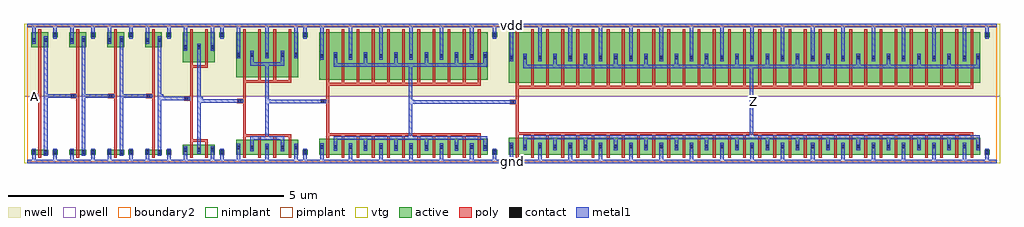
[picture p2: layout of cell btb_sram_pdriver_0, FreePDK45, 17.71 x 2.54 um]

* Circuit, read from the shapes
.subckt btb_sram_pdriver_0 A Z gnd vdd
M1 btb_sram_pinv_6_1/A A gnd gnd nfet w=0.09u l=0.05u
M2 btb_sram_pinv_6_2/A btb_sram_pinv_6_1/A gnd gnd nfet w=0.09u l=0.05u
M3 btb_sram_pinv_6_3/A btb_sram_pinv_6_2/A gnd gnd nfet w=0.09u l=0.05u
M4 btb_sram_pinv_7_4/A btb_sram_pinv_6_3/A gnd gnd nfet w=0.09u l=0.05u
M5 btb_sram_pinv_3_5/A btb_sram_pinv_7_4/A gnd gnd nfet w=0.18u l=0.05u m=2
M6 btb_sram_pinv_8_6/A btb_sram_pinv_3_5/A gnd gnd nfet w=0.27u l=0.05u m=4
M7 btb_sram_pinv_9_7/A btb_sram_pinv_8_6/A gnd gnd nfet w=0.2875u l=0.05u m=11
M8 Z btb_sram_pinv_9_7/A gnd gnd nfet w=0.305u l=0.05u m=31
M9 btb_sram_pinv_6_1/A A vdd vdd pfet w=0.27u l=0.05u
M10 btb_sram_pinv_6_2/A btb_sram_pinv_6_1/A vdd vdd pfet w=0.27u l=0.05u
M11 btb_sram_pinv_6_3/A btb_sram_pinv_6_2/A vdd vdd pfet w=0.27u l=0.05u
M12 btb_sram_pinv_7_4/A btb_sram_pinv_6_3/A vdd vdd pfet w=0.27u l=0.05u
M13 btb_sram_pinv_3_5/A btb_sram_pinv_7_4/A vdd vdd pfet w=0.54u l=0.05u m=2
M14 btb_sram_pinv_8_6/A btb_sram_pinv_3_5/A vdd vdd pfet w=0.81u l=0.05u m=4
M15 btb_sram_pinv_9_7/A btb_sram_pinv_8_6/A vdd vdd pfet w=0.86u l=0.05u m=11
M16 Z btb_sram_pinv_9_7/A vdd vdd pfet w=0.915u l=0.05u m=31
.ends

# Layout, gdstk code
import gdstk
lib = gdstk.Library(unit=1e-6, precision=5e-10)
def R(c, l, rs):  # rectangles x0, y0, x1, y1
    for r in rs: c.add(gdstk.rectangle(r[:2], r[2:], *l))
def A(c, l, x, y, w, h, nx, ny, dx, dy):  # array of equal rectangles
    R(c, l, [(x+i*dx, y+j*dy, x+i*dx+w, y+j*dy+h) for i in range(nx) for j in range(ny)])
active = (1, 0)
pwell = (2, 0)
nwell = (3, 0)
nimplant = (4, 0)
pimplant = (5, 0)
vtg = (6, 0)
poly = (9, 0)
contact = (10, 0)
metal1 = (11, 0)
boundary2 = (239, 0)

btb_sram_contact_11 = lib.new_cell('btb_sram_contact_11')
R(btb_sram_contact_11, active, [(0,0.0225,0.09,0.1125)])
R(btb_sram_contact_11, nwell, [(-0.055,-0.0325,0.145,0.1675)])
R(btb_sram_contact_11, pimplant, [(0,0.0225,0.09,0.1125)])
R(btb_sram_contact_11, contact, [(0.0125,0.035,0.0775,0.1)])
R(btb_sram_contact_11, metal1, [(0.0125,0,0.0775,0.135)])
R(btb_sram_contact_11, boundary2, [(-0.055,-0.0325,0.145,0.1675)])

btb_sram_pmos_m1_w0_270_ = lib.new_cell('btb_sram_pmos_m1_w0_270_sm1_dm1_da_p')
R(btb_sram_pmos_m1_w0_270_, active, [(0,0,0.305,0.27)])
R(btb_sram_pmos_m1_w0_270_, nwell, [(-0.08,-0.08,0.385,0.35)])
R(btb_sram_pmos_m1_w0_270_, pimplant, [(0,0,0.305,0.27)])
R(btb_sram_pmos_m1_w0_270_, vtg, [(-0.08,-0.08,0.385,0.35)])
R(btb_sram_pmos_m1_w0_270_, poly, [(0.1275,-0.055,0.1775,0.325), (0.1275,-0.055,0.1775,0.325)])
R(btb_sram_pmos_m1_w0_270_, metal1, [(0.0125,0.0675,0.0775,0.2025), (0.2275,0.0675,0.2925,0.2025)])
R(btb_sram_pmos_m1_w0_270_, boundary2, [(-0.08,-0.08,0.385,0.35)])
btb_sram_pmos_m1_w0_270_.add(gdstk.Reference(btb_sram_contact_11, (0,0.0675)))
btb_sram_pmos_m1_w0_270_.add(gdstk.Reference(btb_sram_contact_11, (0.215,0.0675)))
btb_sram_pmos_m1_w0_270_.add(gdstk.Label('G', (0.1525,0.135), layer=9, texttype=0))
btb_sram_pmos_m1_w0_270_.add(gdstk.Label('S', (0.045,0.135), layer=11, texttype=0))
btb_sram_pmos_m1_w0_270_.add(gdstk.Label('D', (0.26,0.135), layer=11, texttype=0))

btb_sram_contact_10 = lib.new_cell('btb_sram_contact_10')
R(btb_sram_contact_10, active, [(0,0.0225,0.09,0.1125)])
R(btb_sram_contact_10, pwell, [(-0.055,-0.0325,0.145,0.1675)])
R(btb_sram_contact_10, nimplant, [(0,0.0225,0.09,0.1125)])
R(btb_sram_contact_10, contact, [(0.0125,0.035,0.0775,0.1)])
R(btb_sram_contact_10, metal1, [(0.0125,0,0.0775,0.135)])
R(btb_sram_contact_10, boundary2, [(-0.055,-0.0325,0.145,0.1675)])

btb_sram_nmos_m1_w0_090_ = lib.new_cell('btb_sram_nmos_m1_w0_090_sm1_dm1_da_p')
R(btb_sram_nmos_m1_w0_090_, active, [(0,0,0.305,0.09)])
R(btb_sram_nmos_m1_w0_090_, pwell, [(-0.08,-0.08,0.385,0.17)])
R(btb_sram_nmos_m1_w0_090_, nimplant, [(0,0,0.305,0.09)])
R(btb_sram_nmos_m1_w0_090_, vtg, [(-0.08,-0.08,0.385,0.17)])
R(btb_sram_nmos_m1_w0_090_, poly, [(0.1275,-0.055,0.1775,0.145), (0.1275,-0.055,0.1775,0.145)])
R(btb_sram_nmos_m1_w0_090_, metal1, [(0.0125,-0.0225,0.0775,0.1125), (0.2275,-0.0225,0.2925,0.1125)])
R(btb_sram_nmos_m1_w0_090_, boundary2, [(-0.08,-0.08,0.385,0.17)])
btb_sram_nmos_m1_w0_090_.add(gdstk.Reference(btb_sram_contact_10, (0,-0.0225)))
btb_sram_nmos_m1_w0_090_.add(gdstk.Reference(btb_sram_contact_10, (0.215,-0.0225)))
btb_sram_nmos_m1_w0_090_.add(gdstk.Label('G', (0.1525,0.045), layer=9, texttype=0))
btb_sram_nmos_m1_w0_090_.add(gdstk.Label('S', (0.045,0.045), layer=11, texttype=0))
btb_sram_nmos_m1_w0_090_.add(gdstk.Label('D', (0.26,0.045), layer=11, texttype=0))

btb_sram_contact_12 = lib.new_cell('btb_sram_contact_12')
R(btb_sram_contact_12, active, [(0,0.0225,0.09,0.1125)])
R(btb_sram_contact_12, nwell, [(-0.055,-0.0325,0.145,0.1675)])
R(btb_sram_contact_12, nimplant, [(0,0.0225,0.09,0.1125)])
R(btb_sram_contact_12, contact, [(0.0125,0.035,0.0775,0.1)])
R(btb_sram_contact_12, metal1, [(0.0125,0,0.0775,0.135)])
R(btb_sram_contact_12, boundary2, [(-0.055,-0.0325,0.145,0.1675)])

btb_sram_contact_13 = lib.new_cell('btb_sram_contact_13')
R(btb_sram_contact_13, active, [(0,0.0225,0.09,0.1125)])
R(btb_sram_contact_13, pwell, [(-0.055,-0.0325,0.145,0.1675)])
R(btb_sram_contact_13, pimplant, [(0,0.0225,0.09,0.1125)])
R(btb_sram_contact_13, contact, [(0.0125,0.035,0.0775,0.1)])
R(btb_sram_contact_13, metal1, [(0.0125,0,0.0775,0.135)])
R(btb_sram_contact_13, boundary2, [(-0.055,-0.0325,0.145,0.1675)])

btb_sram_contact_14 = lib.new_cell('btb_sram_contact_14')
R(btb_sram_contact_14, poly, [(0.03,0,0.105,0.075)])
R(btb_sram_contact_14, contact, [(0.035,0.005,0.1,0.07)])
R(btb_sram_contact_14, metal1, [(0,0.005,0.135,0.07)])
R(btb_sram_contact_14, boundary2, [(0,0,0.135,0.075)])

btb_sram_pinv_6 = lib.new_cell('btb_sram_pinv_6')
R(btb_sram_pinv_6, pwell, [(-0.055,-0.0325,0.7425,1.185)])
R(btb_sram_pinv_6, nwell, [(-0.055,1.185,0.7425,2.505)])
R(btb_sram_pinv_6, vtg, [(-0.055,-0.0325,0.7425,1.185), (-0.055,1.185,0.7425,2.505)])
R(btb_sram_pinv_6, poly, [(0.2075,0.27,0.2575,2.02), (0.14,1.1525,0.2075,1.2275)])
R(btb_sram_pinv_6, metal1, [(0,-0.0325,0.6875,0.0325), (0.0925,-0.0325,0.1575,0.1025), (0.4775,0,0.5425,0.17), (0.3075,0.1025,0.3725,2.2775), (0.0725,1.1575,0.2075,1.2225), (0.34,1.1575,0.405,1.2225), (0.0925,2.1425,0.1575,2.5025), (0.4775,2.3,0.5425,2.47), (0,2.4375,0.6875,2.5025)])
R(btb_sram_pinv_6, boundary2, [(0,0,0.6875,2.47), (0,0,0.6875,2.47)])
btb_sram_pinv_6.add(gdstk.Reference(btb_sram_pmos_m1_w0_270_, (0.08,2.075)))
btb_sram_pinv_6.add(gdstk.Reference(btb_sram_nmos_m1_w0_090_, (0.08,0.125)))
btb_sram_pinv_6.add(gdstk.Reference(btb_sram_contact_12, (0.465,2.2325)))
btb_sram_pinv_6.add(gdstk.Reference(btb_sram_contact_13, (0.465,0.1025)))
btb_sram_pinv_6.add(gdstk.Reference(btb_sram_contact_14, (0.0725,1.1525)))
btb_sram_pinv_6.add(gdstk.Label('A', (0.14,1.19), layer=11, texttype=0))
btb_sram_pinv_6.add(gdstk.Label('Z', (0.3725,1.19), layer=11, texttype=0))
btb_sram_pinv_6.add(gdstk.Label('gnd', (0.344,0), layer=11, texttype=0))
btb_sram_pinv_6.add(gdstk.Label('vdd', (0.344,2.47), layer=11, texttype=0))

btb_sram_pmos_m2_w0_540_ = lib.new_cell('btb_sram_pmos_m2_w0_540_sm1_dm1_da_p')
R(btb_sram_pmos_m2_w0_540_, active, [(0,0,0.58,0.54)])
R(btb_sram_pmos_m2_w0_540_, nwell, [(-0.08,-0.08,0.66,0.62)])
R(btb_sram_pmos_m2_w0_540_, pimplant, [(0,0,0.58,0.54)])
R(btb_sram_pmos_m2_w0_540_, vtg, [(-0.08,-0.08,0.66,0.62)])
R(btb_sram_pmos_m2_w0_540_, poly, [(0.1275,-0.105,0.4525,-0.055), (0.1275,-0.055,0.1775,0.595), (0.4025,-0.055,0.4525,0.595)])
A(btb_sram_pmos_m2_w0_540_, metal1, 0.0125, 0.2025, 0.065, 0.135, 3, 1, 0.245, 0)
R(btb_sram_pmos_m2_w0_540_, boundary2, [(-0.08,-0.105,0.66,0.62)])
btb_sram_pmos_m2_w0_540_.add(gdstk.Reference(btb_sram_contact_11, (0,0.2025)))
btb_sram_pmos_m2_w0_540_.add(gdstk.Reference(btb_sram_contact_11, (0.245,0.2025)))
btb_sram_pmos_m2_w0_540_.add(gdstk.Reference(btb_sram_contact_11, (0.49,0.2025)))
btb_sram_pmos_m2_w0_540_.add(gdstk.Label('G', (0.29,-0.08), layer=9, texttype=0))
btb_sram_pmos_m2_w0_540_.add(gdstk.Label('S', (0.045,0.27), layer=11, texttype=0))
btb_sram_pmos_m2_w0_540_.add(gdstk.Label('S', (0.535,0.27), layer=11, texttype=0))
btb_sram_pmos_m2_w0_540_.add(gdstk.Label('D', (0.29,0.27), layer=11, texttype=0))

btb_sram_nmos_m2_w0_180_ = lib.new_cell('btb_sram_nmos_m2_w0_180_sm1_dm1_da_p')
R(btb_sram_nmos_m2_w0_180_, active, [(0,0,0.58,0.18)])
R(btb_sram_nmos_m2_w0_180_, pwell, [(-0.08,-0.08,0.66,0.26)])
R(btb_sram_nmos_m2_w0_180_, nimplant, [(0,0,0.58,0.18)])
R(btb_sram_nmos_m2_w0_180_, vtg, [(-0.08,-0.08,0.66,0.26)])
R(btb_sram_nmos_m2_w0_180_, poly, [(0.1275,-0.055,0.1775,0.235), (0.4025,-0.055,0.4525,0.235), (0.1275,0.235,0.4525,0.285)])
A(btb_sram_nmos_m2_w0_180_, metal1, 0.0125, 0.0225, 0.065, 0.135, 3, 1, 0.245, 0)
R(btb_sram_nmos_m2_w0_180_, boundary2, [(-0.08,-0.08,0.66,0.285)])
btb_sram_nmos_m2_w0_180_.add(gdstk.Reference(btb_sram_contact_10, (0,0.0225)))
btb_sram_nmos_m2_w0_180_.add(gdstk.Reference(btb_sram_contact_10, (0.245,0.0225)))
btb_sram_nmos_m2_w0_180_.add(gdstk.Reference(btb_sram_contact_10, (0.49,0.0225)))
btb_sram_nmos_m2_w0_180_.add(gdstk.Label('G', (0.29,0.26), layer=9, texttype=0))
btb_sram_nmos_m2_w0_180_.add(gdstk.Label('S', (0.535,0.09), layer=11, texttype=0))
btb_sram_nmos_m2_w0_180_.add(gdstk.Label('S', (0.045,0.09), layer=11, texttype=0))
btb_sram_nmos_m2_w0_180_.add(gdstk.Label('D', (0.29,0.09), layer=11, texttype=0))

btb_sram_pinv_7 = lib.new_cell('btb_sram_pinv_7')
R(btb_sram_pinv_7, pwell, [(-0.055,-0.0325,1.0175,1.185)])
R(btb_sram_pinv_7, nwell, [(-0.055,1.185,1.0175,2.505)])
R(btb_sram_pinv_7, vtg, [(-0.055,-0.0325,1.0175,1.185), (-0.055,1.185,1.0175,2.505)])
R(btb_sram_pinv_7, poly, [(0.2075,0.41,0.2575,1.7), (0.14,1.1075,0.2075,1.1825)])
R(btb_sram_pinv_7, metal1, [(0,-0.0325,0.9625,0.0325), (0.0925,-0.0325,0.1575,0.1475), (0.5825,-0.0325,0.6475,0.1475), (0.7525,0,0.8175,0.17), (0.3375,0.1475,0.4025,2.1425), (0.0725,1.1125,0.2075,1.1775), (0.37,1.1125,0.435,1.1775), (0.0925,2.0075,0.1575,2.5025), (0.5825,2.0075,0.6475,2.5025), (0.7525,2.3,0.8175,2.47), (0,2.4375,0.9625,2.5025)])
R(btb_sram_pinv_7, boundary2, [(0,0,0.9625,2.47), (0,0,0.9625,2.47)])
btb_sram_pinv_7.add(gdstk.Reference(btb_sram_pmos_m2_w0_540_, (0.08,1.805)))
btb_sram_pinv_7.add(gdstk.Reference(btb_sram_nmos_m2_w0_180_, (0.08,0.125)))
btb_sram_pinv_7.add(gdstk.Reference(btb_sram_contact_12, (0.74,2.2325)))
btb_sram_pinv_7.add(gdstk.Reference(btb_sram_contact_13, (0.74,0.1025)))
btb_sram_pinv_7.add(gdstk.Reference(btb_sram_contact_14, (0.0725,1.1075)))
btb_sram_pinv_7.add(gdstk.Label('A', (0.14,1.145), layer=11, texttype=0))
btb_sram_pinv_7.add(gdstk.Label('Z', (0.4025,1.145), layer=11, texttype=0))
btb_sram_pinv_7.add(gdstk.Label('gnd', (0.481,0), layer=11, texttype=0))
btb_sram_pinv_7.add(gdstk.Label('vdd', (0.481,2.47), layer=11, texttype=0))

btb_sram_pmos_m4_w0_810_ = lib.new_cell('btb_sram_pmos_m4_w0_810_sm1_dm1_da_p')
R(btb_sram_pmos_m4_w0_810_, active, [(0,0,1.13,0.81)])
R(btb_sram_pmos_m4_w0_810_, nwell, [(-0.08,-0.08,1.21,0.89)])
R(btb_sram_pmos_m4_w0_810_, pimplant, [(0,0,1.13,0.81)])
R(btb_sram_pmos_m4_w0_810_, vtg, [(-0.08,-0.08,1.21,0.89)])
A(btb_sram_pmos_m4_w0_810_, poly, 0.1275, -0.055, 0.05, 0.92, 4, 1, 0.275, 0)
R(btb_sram_pmos_m4_w0_810_, poly, [(0.1275,-0.105,1.0025,-0.055)])
A(btb_sram_pmos_m4_w0_810_, metal1, 0.0125, 0.3375, 0.065, 0.135, 3, 1, 0.52, 0)
R(btb_sram_pmos_m4_w0_810_, metal1, [(0.2575,0.2075,0.8725,0.2725), (0.2575,0.24,0.3225,0.405), (0.8075,0.24,0.8725,0.405)])
R(btb_sram_pmos_m4_w0_810_, boundary2, [(-0.08,-0.105,1.21,0.89)])
btb_sram_pmos_m4_w0_810_.add(gdstk.Reference(btb_sram_contact_11, (0,0.3375)))
btb_sram_pmos_m4_w0_810_.add(gdstk.Reference(btb_sram_contact_11, (0.245,0.3375)))
btb_sram_pmos_m4_w0_810_.add(gdstk.Reference(btb_sram_contact_11, (0.52,0.3375)))
btb_sram_pmos_m4_w0_810_.add(gdstk.Reference(btb_sram_contact_11, (0.795,0.3375)))
btb_sram_pmos_m4_w0_810_.add(gdstk.Reference(btb_sram_contact_11, (1.04,0.3375)))
btb_sram_pmos_m4_w0_810_.add(gdstk.Label('G', (0.565,-0.08), layer=9, texttype=0))
btb_sram_pmos_m4_w0_810_.add(gdstk.Label('S', (0.045,0.405), layer=11, texttype=0))
btb_sram_pmos_m4_w0_810_.add(gdstk.Label('S', (0.565,0.405), layer=11, texttype=0))
btb_sram_pmos_m4_w0_810_.add(gdstk.Label('S', (1.085,0.405), layer=11, texttype=0))
btb_sram_pmos_m4_w0_810_.add(gdstk.Label('D', (0.565,0.24), layer=11, texttype=0))

btb_sram_nmos_m4_w0_270_ = lib.new_cell('btb_sram_nmos_m4_w0_270_sm1_dm1_da_p')
R(btb_sram_nmos_m4_w0_270_, active, [(0,0,1.13,0.27)])
R(btb_sram_nmos_m4_w0_270_, pwell, [(-0.08,-0.08,1.21,0.35)])
R(btb_sram_nmos_m4_w0_270_, nimplant, [(0,0,1.13,0.27)])
R(btb_sram_nmos_m4_w0_270_, vtg, [(-0.08,-0.08,1.21,0.35)])
A(btb_sram_nmos_m4_w0_270_, poly, 0.1275, -0.055, 0.05, 0.38, 4, 1, 0.275, 0)
R(btb_sram_nmos_m4_w0_270_, poly, [(0.1275,0.325,1.0025,0.375)])
A(btb_sram_nmos_m4_w0_270_, metal1, 0.0125, 0.0675, 0.065, 0.135, 3, 1, 0.52, 0)
R(btb_sram_nmos_m4_w0_270_, metal1, [(0.2575,0.135,0.3225,0.3), (0.8075,0.135,0.8725,0.3), (0.2575,0.2675,0.8725,0.3325)])
R(btb_sram_nmos_m4_w0_270_, boundary2, [(-0.08,-0.08,1.21,0.375)])
btb_sram_nmos_m4_w0_270_.add(gdstk.Reference(btb_sram_contact_10, (0,0.0675)))
btb_sram_nmos_m4_w0_270_.add(gdstk.Reference(btb_sram_contact_10, (0.245,0.0675)))
btb_sram_nmos_m4_w0_270_.add(gdstk.Reference(btb_sram_contact_10, (0.52,0.0675)))
btb_sram_nmos_m4_w0_270_.add(gdstk.Reference(btb_sram_contact_10, (0.795,0.0675)))
btb_sram_nmos_m4_w0_270_.add(gdstk.Reference(btb_sram_contact_10, (1.04,0.0675)))
btb_sram_nmos_m4_w0_270_.add(gdstk.Label('G', (0.565,0.35), layer=9, texttype=0))
btb_sram_nmos_m4_w0_270_.add(gdstk.Label('S', (0.565,0.135), layer=11, texttype=0))
btb_sram_nmos_m4_w0_270_.add(gdstk.Label('S', (0.045,0.135), layer=11, texttype=0))
btb_sram_nmos_m4_w0_270_.add(gdstk.Label('S', (1.085,0.135), layer=11, texttype=0))
btb_sram_nmos_m4_w0_270_.add(gdstk.Label('D', (0.565,0.3), layer=11, texttype=0))

btb_sram_pinv_3 = lib.new_cell('btb_sram_pinv_3')
R(btb_sram_pinv_3, pwell, [(-0.055,-0.0325,1.5675,1.185)])
R(btb_sram_pinv_3, nwell, [(-0.055,1.185,1.5675,2.505)])
R(btb_sram_pinv_3, vtg, [(-0.055,-0.0325,1.5675,1.185), (-0.055,1.185,1.5675,2.505)])
R(btb_sram_pinv_3, poly, [(0.2075,0.5,0.2575,1.43), (0.14,1.0625,0.2075,1.1375)])
A(btb_sram_pinv_3, metal1, 0.0925, -0.0325, 0.065, 0.225, 3, 1, 0.52, 0)
A(btb_sram_pinv_3, metal1, 0.0925, 1.8725, 0.065, 0.63, 3, 1, 0.52, 0)
R(btb_sram_pinv_3, metal1, [(0,-0.0325,1.5125,0.0325), (1.3025,0,1.3675,0.17), (0.6125,0.3925,0.6775,1.8075), (0.0725,1.0675,0.2075,1.1325), (0.645,1.0675,0.71,1.1325), (1.3025,2.3,1.3675,2.47), (0,2.4375,1.5125,2.5025)])
R(btb_sram_pinv_3, boundary2, [(0,0,1.5125,2.47), (0,0,1.5125,2.47)])
btb_sram_pinv_3.add(gdstk.Reference(btb_sram_pmos_m4_w0_810_, (0.08,1.535)))
btb_sram_pinv_3.add(gdstk.Reference(btb_sram_nmos_m4_w0_270_, (0.08,0.125)))
btb_sram_pinv_3.add(gdstk.Reference(btb_sram_contact_12, (1.29,2.2325)))
btb_sram_pinv_3.add(gdstk.Reference(btb_sram_contact_13, (1.29,0.1025)))
btb_sram_pinv_3.add(gdstk.Reference(btb_sram_contact_14, (0.0725,1.0625)))
btb_sram_pinv_3.add(gdstk.Label('A', (0.14,1.1), layer=11, texttype=0))
btb_sram_pinv_3.add(gdstk.Label('Z', (0.6775,1.1), layer=11, texttype=0))
btb_sram_pinv_3.add(gdstk.Label('gnd', (0.756,0), layer=11, texttype=0))
btb_sram_pinv_3.add(gdstk.Label('vdd', (0.756,2.47), layer=11, texttype=0))

btb_sram_pmos_m11_w0_860 = lib.new_cell('btb_sram_pmos_m11_w0_860_sm1_dm1_da_p')
R(btb_sram_pmos_m11_w0_860, active, [(0,0,3.055,0.86)])
R(btb_sram_pmos_m11_w0_860, nwell, [(-0.08,-0.08,3.135,0.94)])
R(btb_sram_pmos_m11_w0_860, pimplant, [(0,0,3.055,0.86)])
R(btb_sram_pmos_m11_w0_860, vtg, [(-0.08,-0.08,3.135,0.94)])
A(btb_sram_pmos_m11_w0_860, poly, 0.1275, -0.055, 0.05, 0.97, 11, 1, 0.275, 0)
R(btb_sram_pmos_m11_w0_860, poly, [(0.1275,-0.105,2.9275,-0.055)])
A(btb_sram_pmos_m11_w0_860, metal1, 0.2575, 0.265, 0.065, 0.165, 5, 1, 0.55, 0)
A(btb_sram_pmos_m11_w0_860, metal1, 0.5325, 0.3625, 0.065, 0.135, 5, 1, 0.55, 0)
R(btb_sram_pmos_m11_w0_860, metal1, [(0.2575,0.2325,3.0425,0.2975), (2.9775,0.265,3.0425,0.43), (0.0125,0.3625,0.0775,0.4975)])
R(btb_sram_pmos_m11_w0_860, boundary2, [(-0.08,-0.105,3.135,0.94)])
btb_sram_pmos_m11_w0_860.add(gdstk.Reference(btb_sram_contact_11, (0,0.3625)))
btb_sram_pmos_m11_w0_860.add(gdstk.Reference(btb_sram_contact_11, (0.245,0.3625)))
btb_sram_pmos_m11_w0_860.add(gdstk.Reference(btb_sram_contact_11, (0.52,0.3625)))
btb_sram_pmos_m11_w0_860.add(gdstk.Reference(btb_sram_contact_11, (0.795,0.3625)))
btb_sram_pmos_m11_w0_860.add(gdstk.Reference(btb_sram_contact_11, (1.07,0.3625)))
btb_sram_pmos_m11_w0_860.add(gdstk.Reference(btb_sram_contact_11, (1.345,0.3625)))
btb_sram_pmos_m11_w0_860.add(gdstk.Reference(btb_sram_contact_11, (1.62,0.3625)))
btb_sram_pmos_m11_w0_860.add(gdstk.Reference(btb_sram_contact_11, (1.895,0.3625)))
btb_sram_pmos_m11_w0_860.add(gdstk.Reference(btb_sram_contact_11, (2.17,0.3625)))
btb_sram_pmos_m11_w0_860.add(gdstk.Reference(btb_sram_contact_11, (2.445,0.3625)))
btb_sram_pmos_m11_w0_860.add(gdstk.Reference(btb_sram_contact_11, (2.72,0.3625)))
btb_sram_pmos_m11_w0_860.add(gdstk.Reference(btb_sram_contact_11, (2.965,0.3625)))
btb_sram_pmos_m11_w0_860.add(gdstk.Label('G', (1.5275,-0.08), layer=9, texttype=0))
btb_sram_pmos_m11_w0_860.add(gdstk.Label('S', (2.765,0.43), layer=11, texttype=0))
btb_sram_pmos_m11_w0_860.add(gdstk.Label('S', (1.665,0.43), layer=11, texttype=0))
btb_sram_pmos_m11_w0_860.add(gdstk.Label('S', (2.215,0.43), layer=11, texttype=0))
btb_sram_pmos_m11_w0_860.add(gdstk.Label('S', (0.565,0.43), layer=11, texttype=0))
btb_sram_pmos_m11_w0_860.add(gdstk.Label('S', (0.045,0.43), layer=11, texttype=0))
btb_sram_pmos_m11_w0_860.add(gdstk.Label('S', (1.115,0.43), layer=11, texttype=0))
btb_sram_pmos_m11_w0_860.add(gdstk.Label('D', (1.65,0.265), layer=11, texttype=0))

btb_sram_nmos_m11_w0_288 = lib.new_cell('btb_sram_nmos_m11_w0_288_sm1_dm1_da_p')
R(btb_sram_nmos_m11_w0_288, active, [(0,0,3.055,0.2875)])
R(btb_sram_nmos_m11_w0_288, pwell, [(-0.08,-0.08,3.135,0.3675)])
R(btb_sram_nmos_m11_w0_288, nimplant, [(0,0,3.055,0.2875)])
R(btb_sram_nmos_m11_w0_288, vtg, [(-0.08,-0.08,3.135,0.3675)])
A(btb_sram_nmos_m11_w0_288, poly, 0.1275, -0.055, 0.05, 0.3975, 11, 1, 0.275, 0)
R(btb_sram_nmos_m11_w0_288, poly, [(0.1275,0.3425,2.9275,0.3925)])
A(btb_sram_nmos_m11_w0_288, metal1, 0.5325, 0.075, 0.065, 0.135, 5, 1, 0.55, 0)
A(btb_sram_nmos_m11_w0_288, metal1, 0.2575, 0.145, 0.065, 0.165, 5, 1, 0.55, 0)
R(btb_sram_nmos_m11_w0_288, metal1, [(0.0125,0.075,0.0775,0.21), (2.9775,0.145,3.0425,0.31), (0.2575,0.275,3.0425,0.34)])
R(btb_sram_nmos_m11_w0_288, boundary2, [(-0.08,-0.08,3.135,0.3925)])
btb_sram_nmos_m11_w0_288.add(gdstk.Reference(btb_sram_contact_10, (0,0.075)))
btb_sram_nmos_m11_w0_288.add(gdstk.Reference(btb_sram_contact_10, (0.245,0.075)))
btb_sram_nmos_m11_w0_288.add(gdstk.Reference(btb_sram_contact_10, (0.52,0.075)))
btb_sram_nmos_m11_w0_288.add(gdstk.Reference(btb_sram_contact_10, (0.795,0.075)))
btb_sram_nmos_m11_w0_288.add(gdstk.Reference(btb_sram_contact_10, (1.07,0.075)))
btb_sram_nmos_m11_w0_288.add(gdstk.Reference(btb_sram_contact_10, (1.345,0.075)))
btb_sram_nmos_m11_w0_288.add(gdstk.Reference(btb_sram_contact_10, (1.62,0.075)))
btb_sram_nmos_m11_w0_288.add(gdstk.Reference(btb_sram_contact_10, (1.895,0.075)))
btb_sram_nmos_m11_w0_288.add(gdstk.Reference(btb_sram_contact_10, (2.17,0.075)))
btb_sram_nmos_m11_w0_288.add(gdstk.Reference(btb_sram_contact_10, (2.445,0.075)))
btb_sram_nmos_m11_w0_288.add(gdstk.Reference(btb_sram_contact_10, (2.72,0.075)))
btb_sram_nmos_m11_w0_288.add(gdstk.Reference(btb_sram_contact_10, (2.965,0.075)))
btb_sram_nmos_m11_w0_288.add(gdstk.Label('G', (1.5275,0.3675), layer=9, texttype=0))
btb_sram_nmos_m11_w0_288.add(gdstk.Label('S', (1.115,0.1425), layer=11, texttype=0))
btb_sram_nmos_m11_w0_288.add(gdstk.Label('S', (2.215,0.1425), layer=11, texttype=0))
btb_sram_nmos_m11_w0_288.add(gdstk.Label('S', (0.045,0.1425), layer=11, texttype=0))
btb_sram_nmos_m11_w0_288.add(gdstk.Label('S', (0.565,0.1425), layer=11, texttype=0))
btb_sram_nmos_m11_w0_288.add(gdstk.Label('S', (1.665,0.1425), layer=11, texttype=0))
btb_sram_nmos_m11_w0_288.add(gdstk.Label('S', (2.765,0.1425), layer=11, texttype=0))
btb_sram_nmos_m11_w0_288.add(gdstk.Label('D', (1.65,0.3075), layer=11, texttype=0))

btb_sram_pinv_8 = lib.new_cell('btb_sram_pinv_8')
R(btb_sram_pinv_8, pwell, [(-0.055,-0.0325,3.4925,1.185)])
R(btb_sram_pinv_8, nwell, [(-0.055,1.185,3.4925,2.505)])
R(btb_sram_pinv_8, vtg, [(-0.055,-0.0325,3.4925,1.185), (-0.055,1.185,3.4925,2.505)])
R(btb_sram_pinv_8, poly, [(0.2075,0.5175,0.2575,1.38), (0.14,1.055,0.2075,1.13)])
A(btb_sram_pinv_8, metal1, 0.6125, -0.0325, 0.065, 0.2325, 5, 1, 0.55, 0)
A(btb_sram_pinv_8, metal1, 0.6125, 1.8475, 0.065, 0.655, 5, 1, 0.55, 0)
R(btb_sram_pinv_8, metal1, [(0,-0.0325,3.4375,0.0325), (0.0925,-0.0325,0.1575,0.2), (3.2275,0,3.2925,0.17), (1.6975,0.4,1.7625,1.7825), (0.0725,1.06,0.2075,1.125), (1.73,1.06,1.795,1.125), (0.0925,1.8475,0.1575,2.5025), (3.2275,2.3,3.2925,2.47), (0,2.4375,3.4375,2.5025)])
R(btb_sram_pinv_8, boundary2, [(0,0,3.4375,2.47), (0,0,3.4375,2.47)])
btb_sram_pinv_8.add(gdstk.Reference(btb_sram_pmos_m11_w0_860, (0.08,1.485)))
btb_sram_pinv_8.add(gdstk.Reference(btb_sram_nmos_m11_w0_288, (0.08,0.125)))
btb_sram_pinv_8.add(gdstk.Reference(btb_sram_contact_12, (3.215,2.2325)))
btb_sram_pinv_8.add(gdstk.Reference(btb_sram_contact_13, (3.215,0.1025)))
btb_sram_pinv_8.add(gdstk.Reference(btb_sram_contact_14, (0.0725,1.055)))
btb_sram_pinv_8.add(gdstk.Label('A', (0.14,1.0925), layer=11, texttype=0))
btb_sram_pinv_8.add(gdstk.Label('Z', (1.7625,1.0925), layer=11, texttype=0))
btb_sram_pinv_8.add(gdstk.Label('gnd', (1.719,0), layer=11, texttype=0))
btb_sram_pinv_8.add(gdstk.Label('vdd', (1.719,2.47), layer=11, texttype=0))

btb_sram_pmos_m31_w0_915 = lib.new_cell('btb_sram_pmos_m31_w0_915_sm1_dm1_da_p')
R(btb_sram_pmos_m31_w0_915, active, [(0,0,8.555,0.915)])
R(btb_sram_pmos_m31_w0_915, nwell, [(-0.08,-0.08,8.635,0.995)])
R(btb_sram_pmos_m31_w0_915, pimplant, [(0,0,8.555,0.915)])
R(btb_sram_pmos_m31_w0_915, vtg, [(-0.08,-0.08,8.635,0.995)])
A(btb_sram_pmos_m31_w0_915, poly, 0.1275, -0.055, 0.05, 1.025, 31, 1, 0.275, 0)
R(btb_sram_pmos_m31_w0_915, poly, [(0.1275,-0.105,8.4275,-0.055)])
A(btb_sram_pmos_m31_w0_915, metal1, 0.2575, 0.2925, 0.065, 0.165, 15, 1, 0.55, 0)
A(btb_sram_pmos_m31_w0_915, metal1, 0.5325, 0.39, 0.065, 0.135, 15, 1, 0.55, 0)
R(btb_sram_pmos_m31_w0_915, metal1, [(0.2575,0.26,8.5425,0.325), (8.4775,0.2925,8.5425,0.4575), (0.0125,0.39,0.0775,0.525)])
R(btb_sram_pmos_m31_w0_915, boundary2, [(-0.08,-0.105,8.635,0.995)])
btb_sram_pmos_m31_w0_915.add(gdstk.Reference(btb_sram_contact_11, (0,0.39)))
btb_sram_pmos_m31_w0_915.add(gdstk.Reference(btb_sram_contact_11, (0.245,0.39)))
btb_sram_pmos_m31_w0_915.add(gdstk.Reference(btb_sram_contact_11, (0.52,0.39)))
btb_sram_pmos_m31_w0_915.add(gdstk.Reference(btb_sram_contact_11, (0.795,0.39)))
btb_sram_pmos_m31_w0_915.add(gdstk.Reference(btb_sram_contact_11, (1.07,0.39)))
btb_sram_pmos_m31_w0_915.add(gdstk.Reference(btb_sram_contact_11, (1.345,0.39)))
btb_sram_pmos_m31_w0_915.add(gdstk.Reference(btb_sram_contact_11, (1.62,0.39)))
btb_sram_pmos_m31_w0_915.add(gdstk.Reference(btb_sram_contact_11, (1.895,0.39)))
btb_sram_pmos_m31_w0_915.add(gdstk.Reference(btb_sram_contact_11, (2.17,0.39)))
btb_sram_pmos_m31_w0_915.add(gdstk.Reference(btb_sram_contact_11, (2.445,0.39)))
btb_sram_pmos_m31_w0_915.add(gdstk.Reference(btb_sram_contact_11, (2.72,0.39)))
btb_sram_pmos_m31_w0_915.add(gdstk.Reference(btb_sram_contact_11, (2.995,0.39)))
btb_sram_pmos_m31_w0_915.add(gdstk.Reference(btb_sram_contact_11, (3.27,0.39)))
btb_sram_pmos_m31_w0_915.add(gdstk.Reference(btb_sram_contact_11, (3.545,0.39)))
btb_sram_pmos_m31_w0_915.add(gdstk.Reference(btb_sram_contact_11, (3.82,0.39)))
btb_sram_pmos_m31_w0_915.add(gdstk.Reference(btb_sram_contact_11, (4.095,0.39)))
btb_sram_pmos_m31_w0_915.add(gdstk.Reference(btb_sram_contact_11, (4.37,0.39)))
btb_sram_pmos_m31_w0_915.add(gdstk.Reference(btb_sram_contact_11, (4.645,0.39)))
btb_sram_pmos_m31_w0_915.add(gdstk.Reference(btb_sram_contact_11, (4.92,0.39)))
btb_sram_pmos_m31_w0_915.add(gdstk.Reference(btb_sram_contact_11, (5.195,0.39)))
btb_sram_pmos_m31_w0_915.add(gdstk.Reference(btb_sram_contact_11, (5.47,0.39)))
btb_sram_pmos_m31_w0_915.add(gdstk.Reference(btb_sram_contact_11, (5.745,0.39)))
btb_sram_pmos_m31_w0_915.add(gdstk.Reference(btb_sram_contact_11, (6.02,0.39)))
btb_sram_pmos_m31_w0_915.add(gdstk.Reference(btb_sram_contact_11, (6.295,0.39)))
btb_sram_pmos_m31_w0_915.add(gdstk.Reference(btb_sram_contact_11, (6.57,0.39)))
btb_sram_pmos_m31_w0_915.add(gdstk.Reference(btb_sram_contact_11, (6.845,0.39)))
btb_sram_pmos_m31_w0_915.add(gdstk.Reference(btb_sram_contact_11, (7.12,0.39)))
btb_sram_pmos_m31_w0_915.add(gdstk.Reference(btb_sram_contact_11, (7.395,0.39)))
btb_sram_pmos_m31_w0_915.add(gdstk.Reference(btb_sram_contact_11, (7.67,0.39)))
btb_sram_pmos_m31_w0_915.add(gdstk.Reference(btb_sram_contact_11, (7.945,0.39)))
btb_sram_pmos_m31_w0_915.add(gdstk.Reference(btb_sram_contact_11, (8.22,0.39)))
btb_sram_pmos_m31_w0_915.add(gdstk.Reference(btb_sram_contact_11, (8.465,0.39)))
btb_sram_pmos_m31_w0_915.add(gdstk.Label('G', (4.2775,-0.08), layer=9, texttype=0))
btb_sram_pmos_m31_w0_915.add(gdstk.Label('S', (1.115,0.4575), layer=11, texttype=0))
btb_sram_pmos_m31_w0_915.add(gdstk.Label('S', (8.265,0.4575), layer=11, texttype=0))
btb_sram_pmos_m31_w0_915.add(gdstk.Label('S', (3.315,0.4575), layer=11, texttype=0))
btb_sram_pmos_m31_w0_915.add(gdstk.Label('S', (7.715,0.4575), layer=11, texttype=0))
btb_sram_pmos_m31_w0_915.add(gdstk.Label('S', (2.215,0.4575), layer=11, texttype=0))
btb_sram_pmos_m31_w0_915.add(gdstk.Label('S', (0.565,0.4575), layer=11, texttype=0))
btb_sram_pmos_m31_w0_915.add(gdstk.Label('S', (6.065,0.4575), layer=11, texttype=0))
btb_sram_pmos_m31_w0_915.add(gdstk.Label('S', (1.665,0.4575), layer=11, texttype=0))
btb_sram_pmos_m31_w0_915.add(gdstk.Label('S', (4.965,0.4575), layer=11, texttype=0))
btb_sram_pmos_m31_w0_915.add(gdstk.Label('S', (5.515,0.4575), layer=11, texttype=0))
btb_sram_pmos_m31_w0_915.add(gdstk.Label('S', (2.765,0.4575), layer=11, texttype=0))
btb_sram_pmos_m31_w0_915.add(gdstk.Label('S', (0.045,0.4575), layer=11, texttype=0))
btb_sram_pmos_m31_w0_915.add(gdstk.Label('S', (7.165,0.4575), layer=11, texttype=0))
btb_sram_pmos_m31_w0_915.add(gdstk.Label('S', (6.615,0.4575), layer=11, texttype=0))
btb_sram_pmos_m31_w0_915.add(gdstk.Label('S', (3.865,0.4575), layer=11, texttype=0))
btb_sram_pmos_m31_w0_915.add(gdstk.Label('S', (4.415,0.4575), layer=11, texttype=0))
btb_sram_pmos_m31_w0_915.add(gdstk.Label('D', (4.4,0.2925), layer=11, texttype=0))

btb_sram_nmos_m31_w0_305 = lib.new_cell('btb_sram_nmos_m31_w0_305_sm1_dm1_da_p')
R(btb_sram_nmos_m31_w0_305, active, [(0,0,8.555,0.305)])
R(btb_sram_nmos_m31_w0_305, pwell, [(-0.08,-0.08,8.635,0.385)])
R(btb_sram_nmos_m31_w0_305, nimplant, [(0,0,8.555,0.305)])
R(btb_sram_nmos_m31_w0_305, vtg, [(-0.08,-0.08,8.635,0.385)])
A(btb_sram_nmos_m31_w0_305, poly, 0.1275, -0.055, 0.05, 0.415, 31, 1, 0.275, 0)
R(btb_sram_nmos_m31_w0_305, poly, [(0.1275,0.36,8.4275,0.41)])
A(btb_sram_nmos_m31_w0_305, metal1, 0.5325, 0.085, 0.065, 0.135, 15, 1, 0.55, 0)
A(btb_sram_nmos_m31_w0_305, metal1, 0.2575, 0.1525, 0.065, 0.165, 15, 1, 0.55, 0)
R(btb_sram_nmos_m31_w0_305, metal1, [(0.0125,0.085,0.0775,0.22), (8.4775,0.1525,8.5425,0.3175), (0.2575,0.285,8.5425,0.35)])
R(btb_sram_nmos_m31_w0_305, boundary2, [(-0.08,-0.08,8.635,0.41)])
btb_sram_nmos_m31_w0_305.add(gdstk.Reference(btb_sram_contact_10, (0,0.085)))
btb_sram_nmos_m31_w0_305.add(gdstk.Reference(btb_sram_contact_10, (0.245,0.085)))
btb_sram_nmos_m31_w0_305.add(gdstk.Reference(btb_sram_contact_10, (0.52,0.085)))
btb_sram_nmos_m31_w0_305.add(gdstk.Reference(btb_sram_contact_10, (0.795,0.085)))
btb_sram_nmos_m31_w0_305.add(gdstk.Reference(btb_sram_contact_10, (1.07,0.085)))
btb_sram_nmos_m31_w0_305.add(gdstk.Reference(btb_sram_contact_10, (1.345,0.085)))
btb_sram_nmos_m31_w0_305.add(gdstk.Reference(btb_sram_contact_10, (1.62,0.085)))
btb_sram_nmos_m31_w0_305.add(gdstk.Reference(btb_sram_contact_10, (1.895,0.085)))
btb_sram_nmos_m31_w0_305.add(gdstk.Reference(btb_sram_contact_10, (2.17,0.085)))
btb_sram_nmos_m31_w0_305.add(gdstk.Reference(btb_sram_contact_10, (2.445,0.085)))
btb_sram_nmos_m31_w0_305.add(gdstk.Reference(btb_sram_contact_10, (2.72,0.085)))
btb_sram_nmos_m31_w0_305.add(gdstk.Reference(btb_sram_contact_10, (2.995,0.085)))
btb_sram_nmos_m31_w0_305.add(gdstk.Reference(btb_sram_contact_10, (3.27,0.085)))
btb_sram_nmos_m31_w0_305.add(gdstk.Reference(btb_sram_contact_10, (3.545,0.085)))
btb_sram_nmos_m31_w0_305.add(gdstk.Reference(btb_sram_contact_10, (3.82,0.085)))
btb_sram_nmos_m31_w0_305.add(gdstk.Reference(btb_sram_contact_10, (4.095,0.085)))
btb_sram_nmos_m31_w0_305.add(gdstk.Reference(btb_sram_contact_10, (4.37,0.085)))
btb_sram_nmos_m31_w0_305.add(gdstk.Reference(btb_sram_contact_10, (4.645,0.085)))
btb_sram_nmos_m31_w0_305.add(gdstk.Reference(btb_sram_contact_10, (4.92,0.085)))
btb_sram_nmos_m31_w0_305.add(gdstk.Reference(btb_sram_contact_10, (5.195,0.085)))
btb_sram_nmos_m31_w0_305.add(gdstk.Reference(btb_sram_contact_10, (5.47,0.085)))
btb_sram_nmos_m31_w0_305.add(gdstk.Reference(btb_sram_contact_10, (5.745,0.085)))
btb_sram_nmos_m31_w0_305.add(gdstk.Reference(btb_sram_contact_10, (6.02,0.085)))
btb_sram_nmos_m31_w0_305.add(gdstk.Reference(btb_sram_contact_10, (6.295,0.085)))
btb_sram_nmos_m31_w0_305.add(gdstk.Reference(btb_sram_contact_10, (6.57,0.085)))
btb_sram_nmos_m31_w0_305.add(gdstk.Reference(btb_sram_contact_10, (6.845,0.085)))
btb_sram_nmos_m31_w0_305.add(gdstk.Reference(btb_sram_contact_10, (7.12,0.085)))
btb_sram_nmos_m31_w0_305.add(gdstk.Reference(btb_sram_contact_10, (7.395,0.085)))
btb_sram_nmos_m31_w0_305.add(gdstk.Reference(btb_sram_contact_10, (7.67,0.085)))
btb_sram_nmos_m31_w0_305.add(gdstk.Reference(btb_sram_contact_10, (7.945,0.085)))
btb_sram_nmos_m31_w0_305.add(gdstk.Reference(btb_sram_contact_10, (8.22,0.085)))
btb_sram_nmos_m31_w0_305.add(gdstk.Reference(btb_sram_contact_10, (8.465,0.085)))
btb_sram_nmos_m31_w0_305.add(gdstk.Label('G', (4.2775,0.385), layer=9, texttype=0))
btb_sram_nmos_m31_w0_305.add(gdstk.Label('S', (7.165,0.1525), layer=11, texttype=0))
btb_sram_nmos_m31_w0_305.add(gdstk.Label('S', (3.865,0.1525), layer=11, texttype=0))
btb_sram_nmos_m31_w0_305.add(gdstk.Label('S', (1.665,0.1525), layer=11, texttype=0))
btb_sram_nmos_m31_w0_305.add(gdstk.Label('S', (8.265,0.1525), layer=11, texttype=0))
btb_sram_nmos_m31_w0_305.add(gdstk.Label('S', (4.965,0.1525), layer=11, texttype=0))
btb_sram_nmos_m31_w0_305.add(gdstk.Label('S', (6.065,0.1525), layer=11, texttype=0))
btb_sram_nmos_m31_w0_305.add(gdstk.Label('S', (0.045,0.1525), layer=11, texttype=0))
btb_sram_nmos_m31_w0_305.add(gdstk.Label('S', (2.765,0.1525), layer=11, texttype=0))
btb_sram_nmos_m31_w0_305.add(gdstk.Label('S', (0.565,0.1525), layer=11, texttype=0))
btb_sram_nmos_m31_w0_305.add(gdstk.Label('S', (7.715,0.1525), layer=11, texttype=0))
btb_sram_nmos_m31_w0_305.add(gdstk.Label('S', (6.615,0.1525), layer=11, texttype=0))
btb_sram_nmos_m31_w0_305.add(gdstk.Label('S', (1.115,0.1525), layer=11, texttype=0))
btb_sram_nmos_m31_w0_305.add(gdstk.Label('S', (5.515,0.1525), layer=11, texttype=0))
btb_sram_nmos_m31_w0_305.add(gdstk.Label('S', (2.215,0.1525), layer=11, texttype=0))
btb_sram_nmos_m31_w0_305.add(gdstk.Label('S', (4.415,0.1525), layer=11, texttype=0))
btb_sram_nmos_m31_w0_305.add(gdstk.Label('S', (3.315,0.1525), layer=11, texttype=0))
btb_sram_nmos_m31_w0_305.add(gdstk.Label('D', (4.4,0.3175), layer=11, texttype=0))

btb_sram_pinv_9 = lib.new_cell('btb_sram_pinv_9')
R(btb_sram_pinv_9, pwell, [(-0.055,-0.0325,8.9925,1.185)])
R(btb_sram_pinv_9, nwell, [(-0.055,1.185,8.9925,2.505)])
R(btb_sram_pinv_9, vtg, [(-0.055,-0.0325,8.9925,1.185), (-0.055,1.185,8.9925,2.505)])
R(btb_sram_pinv_9, poly, [(0.2075,0.535,0.2575,1.325), (0.14,1.045,0.2075,1.12)])
A(btb_sram_pinv_9, metal1, 0.6125, -0.0325, 0.065, 0.2425, 15, 1, 0.55, 0)
A(btb_sram_pinv_9, metal1, 0.6125, 1.82, 0.065, 0.6825, 15, 1, 0.55, 0)
R(btb_sram_pinv_9, metal1, [(0,-0.0325,8.9375,0.0325), (0.0925,-0.0325,0.1575,0.21), (8.7275,0,8.7925,0.17), (4.4475,0.41,4.5125,1.755), (0.0725,1.05,0.2075,1.115), (4.48,1.05,4.545,1.115), (0.0925,1.82,0.1575,2.5025), (8.7275,2.3,8.7925,2.47), (0,2.4375,8.9375,2.5025)])
R(btb_sram_pinv_9, boundary2, [(0,0,8.9375,2.47), (0,0,8.9375,2.47)])
btb_sram_pinv_9.add(gdstk.Reference(btb_sram_pmos_m31_w0_915, (0.08,1.43)))
btb_sram_pinv_9.add(gdstk.Reference(btb_sram_nmos_m31_w0_305, (0.08,0.125)))
btb_sram_pinv_9.add(gdstk.Reference(btb_sram_contact_12, (8.715,2.2325)))
btb_sram_pinv_9.add(gdstk.Reference(btb_sram_contact_13, (8.715,0.1025)))
btb_sram_pinv_9.add(gdstk.Reference(btb_sram_contact_14, (0.0725,1.045)))
btb_sram_pinv_9.add(gdstk.Label('A', (0.14,1.0825), layer=11, texttype=0))
btb_sram_pinv_9.add(gdstk.Label('Z', (4.5125,1.0825), layer=11, texttype=0))
btb_sram_pinv_9.add(gdstk.Label('gnd', (4.469,0), layer=11, texttype=0))
btb_sram_pinv_9.add(gdstk.Label('vdd', (4.469,2.47), layer=11, texttype=0))

btb_sram_pdriver_0 = lib.new_cell('btb_sram_pdriver_0')
R(btb_sram_pdriver_0, pwell, [(-0.055,-0.0325,17.655,1.185)])
R(btb_sram_pdriver_0, nwell, [(-0.055,1.185,17.655,2.505)])
R(btb_sram_pdriver_0, vtg, [(-0.055,-0.0325,17.655,1.185), (-0.055,1.185,17.655,2.505)])
A(btb_sram_pdriver_0, metal1, 0.3725, 1.1575, 0.455, 0.065, 3, 1, 0.6875, 0)
R(btb_sram_pdriver_0, metal1, [(0,-0.0325,17.6,0.0325), (6.955,1.05,7.02,1.115), (6.9875,1.05,8.8025,1.115), (13.1425,1.05,13.2075,1.115), (4.3575,1.06,4.4225,1.125), (4.39,1.06,5.365,1.125), (3.12,1.0675,3.185,1.1325), (3.1525,1.0675,3.8525,1.1325), (6.955,1.0825,7.02,1.0925), (4.3575,1.0925,4.4225,1.1), (3.12,1.1,3.185,1.145), (2.4025,1.1125,2.4675,1.1775), (2.435,1.1125,2.89,1.1775), (2.4025,1.145,2.4675,1.19), (0.0725,1.1575,0.2075,1.2225), (0,2.4375,17.6,2.5025)])
R(btb_sram_pdriver_0, boundary2, [(0,0,17.6,2.47), (0,0,17.6,2.47)])
btb_sram_pdriver_0.add(gdstk.Reference(btb_sram_pinv_6, (0,0)))
btb_sram_pdriver_0.add(gdstk.Reference(btb_sram_pinv_6, (0.6875,0)))
btb_sram_pdriver_0.add(gdstk.Reference(btb_sram_pinv_6, (1.375,0)))
btb_sram_pdriver_0.add(gdstk.Reference(btb_sram_pinv_6, (2.0625,0)))
btb_sram_pdriver_0.add(gdstk.Reference(btb_sram_pinv_7, (2.75,0)))
btb_sram_pdriver_0.add(gdstk.Reference(btb_sram_pinv_3, (3.7125,0)))
btb_sram_pdriver_0.add(gdstk.Reference(btb_sram_pinv_8, (5.225,0)))
btb_sram_pdriver_0.add(gdstk.Reference(btb_sram_pinv_9, (8.6625,0)))
btb_sram_pdriver_0.add(gdstk.Label('Z', (13.175,1.0825), layer=11, texttype=0))
btb_sram_pdriver_0.add(gdstk.Label('A', (0.14,1.19), layer=11, texttype=0))
btb_sram_pdriver_0.add(gdstk.Label('gnd', (8.8,0), layer=11, texttype=0))
btb_sram_pdriver_0.add(gdstk.Label('vdd', (8.8,2.47), layer=11, texttype=0))

lib.write_gds('btb_sram_pdriver_0.gds')
